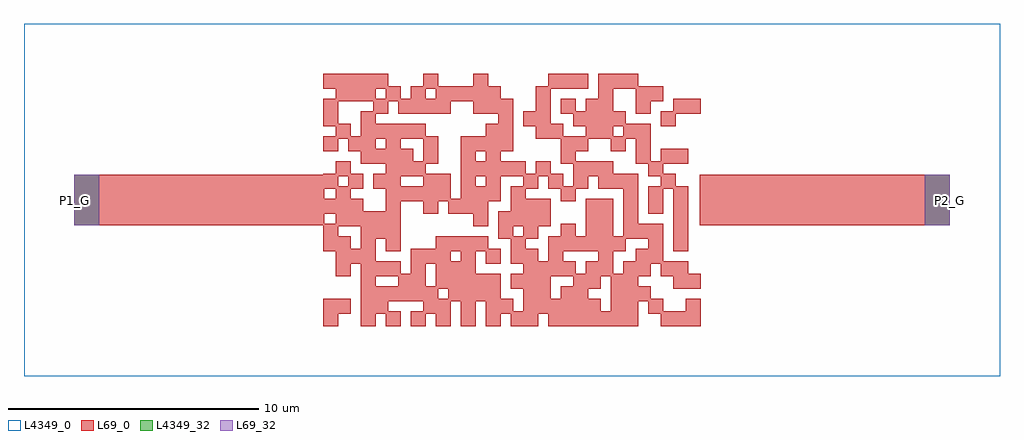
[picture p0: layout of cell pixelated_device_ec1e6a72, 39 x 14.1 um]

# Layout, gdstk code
import gdstk
lib = gdstk.Library(unit=1e-6, precision=1e-09)
def R(c, l, rs):  # rectangles x0, y0, x1, y1
    for r in rs: c.add(gdstk.rectangle(r[:2], r[2:], *l))
def P(c, l, *ps):  # polygons
    for p in ps: c.add(gdstk.Polygon(p, *l))
L69_0 = (69, 0)
L69_32 = (69, 32)
L4349_0 = (4349, 0)
L4349_32 = (4349, 32)

pixelated_device_ec1e6a7 = lib.new_cell('pixelated_device_ec1e6a72')
R(pixelated_device_ec1e6a7, L69_0, [(7.5,-1,17.5,1)])
P(pixelated_device_ec1e6a7, L69_0, [(-7.55,-5.05),(-7.55,-3.95),(-6.45,-3.95),(-6.45,-4.55),(-6.95,-4.55),(-6.95,-5.05)],
  [(5.95,2.95),(5.95,3.55),(6.45,3.55),(6.45,4.05),(7.55,4.05),(7.55,3.45),(6.55,3.45),(6.55,2.95)],
  [(-6.05,-5.05),(-6.05,-3.55),(-2.95,-3.55),(-2.95,-3.95),(-2.55,-3.95),(-2.55,-3.55),(-6.05,-3.55),(-6.05,-3.05),(-5.45,-3.05),(-5.45,-3.45),(-4.55,-3.45),(-4.55,-3.05),(-6.05,-3.05),(-6.05,-2.55),(-6.45,-2.55),(-6.45,-3.05),(-7.05,-3.05),(-7.05,-2.05),(-7.55,-2.05),(-7.55,-1.05),(-6.95,-1.05),(-6.95,-1.45),(-6.45,-1.45),(-6.45,-1.95),(-6.05,-1.95),(-6.05,-1.05),(-7.55,-1.05),(-7.55,-1),(-17.5,-1),(-17.5,-0.55),(-7.5,-0.55),(-7.5,-0.95),(-7.05,-0.95),(-7.05,-0.55),(-17.5,-0.55),(-17.5,0.45),(-7.5,0.45),(-7.5,0.05),(-7.05,0.05),(-7.05,0.45),(-17.5,0.45),(-17.5,0.95),(-6.95,0.95),(-6.95,0.55),(-6.55,0.55),(-6.55,0.95),(-17.5,0.95),(-17.5,1),(-7.55,1),(-7.55,1.05),(-7.05,1.05),(-7.05,1.55),(-6.45,1.55),(-6.45,1.05),(-5.95,1.05),(-5.95,0.45),(-6.45,0.45),(-6.45,0.05),(-5.95,0.05),(-5.95,-0.45),(-5.05,-0.45),(-5.05,0.45),(-5.55,0.45),(-5.55,0.95),(-4.45,0.95),(-4.45,0.55),(-3.55,0.55),(-3.55,0.95),(-5.55,0.95),(-5.55,1.05),(-5.05,1.05),(-5.05,1.45),(-6.05,1.45),(-6.05,1.95),(-6.55,1.95),(-6.55,2.45),(-6.95,2.45),(-6.95,1.95),(-7.55,1.95),(-7.55,2.45),(-5.45,2.45),(-5.45,2.05),(-5.05,2.05),(-5.05,2.45),(-4.45,2.45),(-4.45,2.05),(-3.95,2.05),(-3.95,1.55),(-3.55,1.55),(-3.55,2.45),(-7.55,2.45),(-7.55,2.55),(-7.05,2.55),(-7.05,2.95),(-7.55,2.95),(-7.55,3.95),(-6.95,3.95),(-6.95,3.05),(-6.45,3.05),(-6.45,2.55),(-6.05,2.55),(-6.05,3.55),(-5.55,3.55),(-5.55,3.95),(-2.45,3.95),(-2.45,3.45),(-4.55,3.45),(-4.55,3.95),(-4.95,3.95),(-4.95,3.45),(-5.45,3.45),(-5.45,3.05),(-3.45,3.05),(-3.45,2.55),(-2.95,2.55),(-2.95,1.45),(-3.45,1.45),(-3.45,1.05),(-2.45,1.05),(-2.45,0.05),(-2.05,0.05),(-2.05,0.95),(-1.45,0.95),(-1.45,0.55),(-1.05,0.55),(-1.05,0.95),(-0.45,0.95),(-0.45,-0.05),(-0.95,-0.05),(-0.95,-1.05),(-1.55,-1.05),(-1.55,-0.55),(-2.55,-0.55),(-2.55,-0.05),(-2.95,-0.05),(-2.95,-0.55),(-3.55,-0.55),(-3.55,-0.05),(-4.45,-0.05),(-4.45,-2.05),(-5.05,-2.05),(-5.05,-1.55),(-5.45,-1.55),(-5.45,-2.45),(-4.45,-2.45),(-4.45,-2.95),(-4.05,-2.95),(-4.05,-2.55),(-3.45,-2.55),(-3.45,-3.45),(-3.05,-3.45),(-3.05,-2.55),(-4.05,-2.55),(-4.05,-2.05),(-2.45,-2.05),(-2.45,-2.45),(-2.05,-2.45),(-2.05,-2.05),(-4.05,-2.05),(-4.05,-1.95),(-3.05,-1.95),(-3.05,-1.45),(-0.95,-1.45),(-0.95,-1.95),(-0.45,-1.95),(-0.45,-2.55),(-1.05,-2.55),(-1.05,-2.05),(-1.45,-2.05),(-1.45,-2.95),(-0.45,-2.95),(-0.45,-3.95),(0.05,-3.95),(0.05,-4.45),(0.45,-4.45),(0.45,-3.55),(-0.05,-3.55),(-0.05,-3.05),(1.55,-3.05),(1.55,-3.95),(1.95,-3.95),(1.95,-3.45),(2.45,-3.45),(2.45,-3.05),(3.55,-3.05),(3.55,-3.55),(3.05,-3.55),(3.05,-3.95),(3.55,-3.95),(3.55,-4.45),(3.95,-4.45),(3.95,-3.05),(-0.05,-3.05),(-0.05,-2.95),(0.45,-2.95),(0.45,-2.55),(-0.05,-2.55),(-0.05,-1.55),(-0.55,-1.55),(-0.55,-1.05),(0.05,-1.05),(0.05,-1.45),(0.45,-1.45),(0.45,-1.05),(-0.55,-1.05),(-0.55,-0.45),(-0.05,-0.45),(-0.05,0.55),(0.45,0.55),(0.45,0.95),(-2.05,0.95),(-2.05,1.95),(-1.45,1.95),(-1.45,1.55),(-1.05,1.55),(-1.05,1.95),(-2.05,1.95),(-2.05,2.55),(-1.05,2.55),(-1.05,3.05),(-0.55,3.05),(-0.55,3.45),(-1.55,3.45),(-1.55,3.95),(-7.55,3.95),(-7.55,4.05),(-7.05,4.05),(-7.05,4.45),(-5.45,4.45),(-5.45,4.05),(-5.05,4.05),(-5.05,4.45),(-7.55,4.45),(-7.55,5.05),(-4.95,5.05),(-4.95,4.55),(-4.45,4.55),(-4.45,4.05),(-4.05,4.05),(-4.05,4.45),(-3.45,4.45),(-3.45,4.05),(-3.05,4.05),(-3.05,4.45),(-4.05,4.45),(-4.05,4.55),(-3.55,4.55),(-3.55,5.05),(-2.95,5.05),(-2.95,4.55),(-1.55,4.55),(-1.55,5.05),(-0.95,5.05),(-0.95,4.55),(-0.45,4.55),(-0.45,4.05),(0.05,4.05),(0.05,1.95),(-0.45,1.95),(-0.45,1.55),(0.55,1.55),(0.55,1.05),(0.95,1.05),(0.95,1.55),(1.55,1.55),(1.55,1.05),(2.05,1.05),(2.05,0.55),(2.45,0.55),(2.45,0.95),(3.05,0.95),(3.05,0.45),(2.55,0.45),(2.55,-0.05),(1.95,-0.05),(1.95,0.45),(1.45,0.45),(1.45,0.95),(1.05,0.95),(1.05,0.45),(0.55,0.45),(0.55,0.05),(1.55,0.05),(1.55,-1.05),(1.05,-1.05),(1.05,-1.55),(0.55,-1.55),(0.55,-1.95),(1.05,-1.95),(1.05,-2.45),(1.45,-2.45),(1.45,-2.05),(2.05,-2.05),(2.05,-2.45),(2.55,-2.45),(2.55,-2.95),(2.95,-2.95),(2.95,-2.45),(3.45,-2.45),(3.45,-2.05),(1.45,-2.05),(1.45,-1.55),(4.55,-1.55),(4.55,-2.05),(4.05,-2.05),(4.05,-2.95),(4.45,-2.95),(4.45,-2.45),(4.95,-2.45),(4.95,-1.95),(5.45,-1.95),(5.45,-1.55),(1.45,-1.55),(1.45,-1.45),(1.95,-1.45),(1.95,-0.95),(2.55,-0.95),(2.55,-1.45),(2.95,-1.45),(2.95,0.05),(4.05,0.05),(4.05,-1.45),(4.45,-1.45),(4.45,0.45),(3.45,0.45),(3.45,0.95),(2.45,0.95),(2.45,1.45),(1.95,1.45),(1.95,2.45),(0.95,2.45),(0.95,2.95),(0.45,2.95),(0.45,3.55),(0.95,3.55),(0.95,4.55),(1.45,4.55),(1.45,5.05),(3.05,5.05),(3.05,4.45),(1.55,4.45),(1.55,3.05),(2.05,3.05),(2.05,2.55),(2.95,2.55),(2.95,2.95),(4.05,2.95),(4.05,2.55),(4.45,2.55),(4.45,2.95),(2.45,2.95),(2.45,3.45),(1.95,3.45),(1.95,4.05),(2.55,4.05),(2.55,3.55),(2.95,3.55),(2.95,4.05),(3.45,4.05),(3.45,5.05),(5.05,5.05),(5.05,4.55),(6.05,4.55),(6.05,3.95),(5.55,3.95),(5.55,3.45),(4.95,3.45),(4.95,4.45),(4.05,4.45),(4.05,3.55),(4.55,3.55),(4.55,3.05),(5.55,3.05),(5.55,1.55),(5.95,1.55),(5.95,2.05),(7.05,2.05),(7.05,1.45),(6.05,1.45),(6.05,1.05),(6.55,1.05),(6.55,0.55),(7.05,0.55),(7.05,-2.05),(6.45,-2.05),(6.45,0.45),(6.05,0.45),(6.05,-0.55),(5.45,-0.55),(5.45,0.55),(5.95,0.55),(5.95,0.95),(5.45,0.95),(5.45,1.45),(4.95,1.45),(4.95,2.45),(4.55,2.45),(4.55,1.95),(3.95,1.95),(3.95,2.45),(3.05,2.45),(3.05,1.95),(2.55,1.95),(2.55,1.55),(4.05,1.55),(4.05,1.05),(5.05,1.05),(5.05,-0.95),(6.05,-0.95),(6.05,-2.45),(7.05,-2.45),(7.05,-2.95),(7.55,-2.95),(7.55,-3.55),(6.45,-3.55),(6.45,-3.05),(5.95,-3.05),(5.95,-2.55),(5.55,-2.55),(5.55,-3.05),(5.05,-3.05),(5.05,-3.45),(5.55,-3.45),(5.55,-3.95),(6.05,-3.95),(6.05,-4.45),(6.95,-4.45),(6.95,-3.95),(7.55,-3.95),(7.55,-5.05),(5.95,-5.05),(5.95,-4.55),(5.45,-4.55),(5.45,-4.05),(5.05,-4.05),(5.05,-5.05),(1.45,-5.05),(1.45,-4.55),(1.05,-4.55),(1.05,-5.05),(-0.05,-5.05),(-0.05,-4.55),(-0.45,-4.55),(-0.45,-5.05),(-1.05,-5.05),(-1.05,-4.05),(-1.45,-4.05),(-1.45,-5.05),(-2.05,-5.05),(-2.05,-4.05),(-2.45,-4.05),(-2.45,-5.05),(-3.05,-5.05),(-3.05,-4.55),(-3.45,-4.55),(-3.45,-5.05),(-4.05,-5.05),(-4.05,-4.45),(-3.55,-4.45),(-3.55,-4.05),(-4.95,-4.05),(-4.95,-4.45),(-4.45,-4.45),(-4.45,-5.05),(-5.05,-5.05),(-5.05,-4.55),(-5.45,-4.55),(-5.45,-5.05)])
R(pixelated_device_ec1e6a7, L69_32, [(-17.5,-1,-16.5,1), (16.5,-1,17.5,1)])
R(pixelated_device_ec1e6a7, L4349_0, [(-19.5,-7.05,19.5,7.05)])
R(pixelated_device_ec1e6a7, L4349_32, [(-17.5,-1,-16.5,1), (16.5,-1,17.5,1)])
pixelated_device_ec1e6a7.add(gdstk.Label('P1_G', (-17.5,0), layer=4349, texttype=0))
pixelated_device_ec1e6a7.add(gdstk.Label('P2_G', (17.5,0), layer=4349, texttype=0))
pixelated_device_ec1e6a7.add(gdstk.Label('P1', (-17.5,0), layer=69, texttype=0))
pixelated_device_ec1e6a7.add(gdstk.Label('P2', (17.5,0), layer=69, texttype=0))

lib.write_gds('pixelated_device_ec1e6a72.gds')
